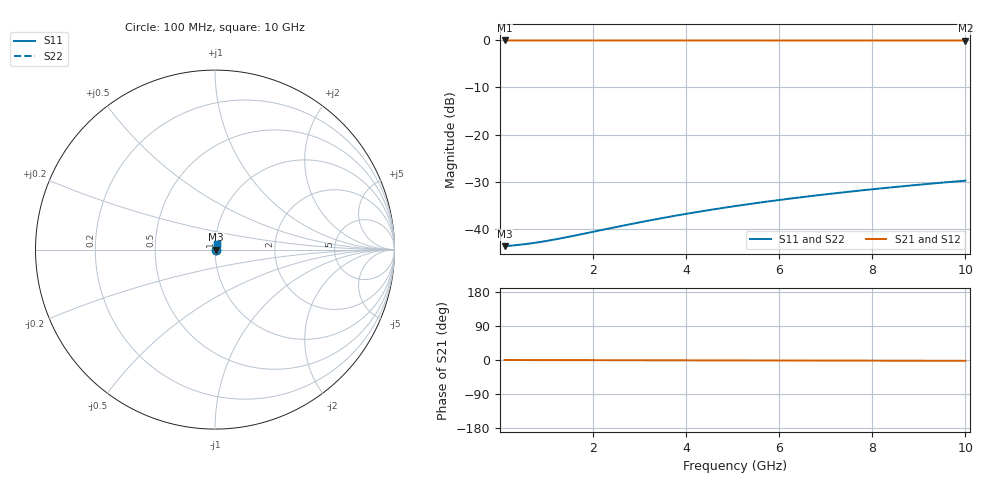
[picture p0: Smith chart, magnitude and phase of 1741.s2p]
# Hz S RI R 50.00
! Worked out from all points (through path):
!   100 points, 100 MHz to 10 GHz, reference 50 ohm
!   highest |S21| = -0.06 dB at 100 MHz (marker M1); lowest = -0.1 dB at 10 GHz (marker M2)
!   lowest |S11| = -43.6 dB at 100 MHz (marker M3), VSWR 1.01, Z = 50.7 + j0.0319 ohm
!   |S11| at or under -10 dB: start of sweep to end of sweep
!   |S22| runs from -43.6 to -29.7 dB; largest |S21 - S12| = 0
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1e8  0.00659 0.000315  0.9934 -0.000377  0.9934 -0.000377  0.00659 0.000315
3e8  0.00667 0.000946  0.9933 -0.00113  0.9933 -0.00113  0.00667 0.000946
5e8  0.00671 0.00158  0.9933 -0.00189  0.9933 -0.00189  0.00671 0.00158
8e8  0.00677 0.00252  0.9932 -0.00302  0.9932 -0.00302  0.00677 0.00252
1e9  0.0068 0.00315  0.9932 -0.00377  0.9932 -0.00377  0.0068 0.00315
1.2e9  0.00683 0.00378  0.9932 -0.00452  0.9932 -0.00452  0.00683 0.00378
1.5e9  0.00687 0.00473  0.9931 -0.00565  0.9931 -0.00565  0.00687 0.00473
1.8e9  0.0069 0.00567  0.9931 -0.00678  0.9931 -0.00678  0.0069 0.00567
2.7e9  0.00701 0.00851  0.993 -0.0102  0.993 -0.0102  0.00701 0.00851
3.1e9  0.00706 0.00977  0.9929 -0.0117  0.9929 -0.0117  0.00706 0.00977
3.4e9  0.0071 0.0107  0.9929 -0.0128  0.9929 -0.0128  0.0071 0.0107
3.8e9  0.00715 0.012  0.9928 -0.0143  0.9928 -0.0143  0.00715 0.012
4.2e9  0.00721 0.0132  0.9928 -0.0158  0.9928 -0.0158  0.00721 0.0132
4.6e9  0.00726 0.0145  0.9927 -0.0173  0.9927 -0.0173  0.00726 0.0145
5.1e9  0.00734 0.0161  0.9927 -0.0192  0.9927 -0.0192  0.00734 0.0161
5.5e9  0.0074 0.0173  0.9926 -0.0207  0.9926 -0.0207  0.0074 0.0173
5.9e9  0.00747 0.0186  0.9925 -0.0222  0.9925 -0.0222  0.00747 0.0186
6.7e9  0.00761 0.0211  0.9924 -0.0253  0.9924 -0.0253  0.00761 0.0211
7.5e9  0.00777 0.0236  0.9922 -0.0283  0.9922 -0.0283  0.00777 0.0236
8.4e9  0.00797 0.0265  0.992 -0.0317  0.992 -0.0317  0.00797 0.0265
9.2e9  0.00816 0.029  0.9918 -0.0347  0.9918 -0.0347  0.00816 0.029
1e10  0.00836 0.0315  0.9916 -0.0377  0.9916 -0.0377  0.00836 0.0315
